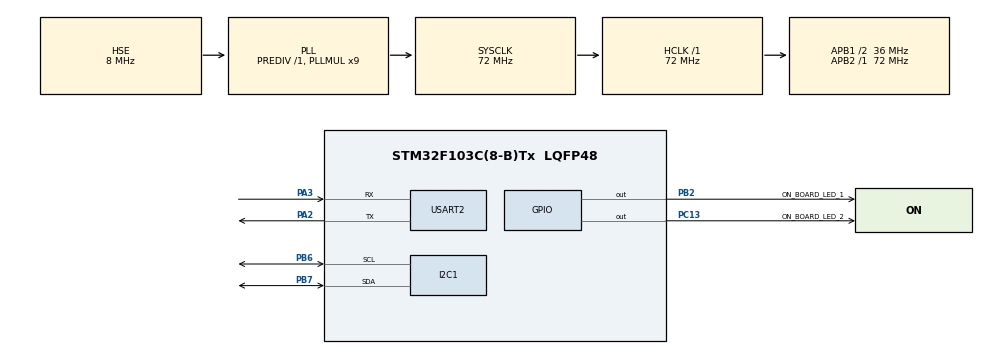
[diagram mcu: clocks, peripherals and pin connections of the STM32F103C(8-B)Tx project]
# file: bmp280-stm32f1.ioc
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FREERTOS.Mutexes01=USART2TxMutex,Dynamic,NULL
FREERTOS.Tasks01=statusTask,24,256,vStatusTask,Default,NULL,Dynamic,NULL,NULL;ledTask,8,128,vLedTask,Default,NULL,Dynamic,NULL,NULL
FREERTOS.configUSE_IDLE_HOOK=1
FREERTOS.configUSE_NEWLIB_REENTRANT=1
I2C1.I2C_Mode=I2C_Fast
I2C1.NoStretchMode=I2C_NOSTRETCH_DISABLE
Mcu.Family=STM32F1
Mcu.Name=STM32F103C(8-B)Tx
Mcu.Package=LQFP48
NVIC.PriorityGroup=NVIC_PRIORITYGROUP_4
NVIC.TIM4_IRQn=true\:15\:0\:false\:false\:true\:false\:false\:true\:true
NVIC.TimeBase=TIM4_IRQn
NVIC.TimeBaseIP=TIM4
PA13.Mode=Serial_Wire
PA13.Signal=SYS_JTMS-SWDIO
PA14.Mode=Serial_Wire
PA14.Signal=SYS_JTCK-SWCLK
PA2.Mode=Asynchronous
PA2.Signal=USART2_TX
PA3.Mode=Asynchronous
PA3.Signal=USART2_RX
PB2.GPIO_Label=ON_BOARD_LED_1
PB2.Signal=GPIO_Output
PB6.Mode=I2C
PB6.Signal=I2C1_SCL
PB7.Mode=I2C
PB7.Signal=I2C1_SDA
PC13-TAMPER-RTC.GPIO_Label=ON_BOARD_LED_2
PC13-TAMPER-RTC.Signal=GPIO_Output
PC14-OSC32_IN.Mode=LSE-External-Oscillator
PC14-OSC32_IN.Signal=RCC_OSC32_IN
PC15-OSC32_OUT.Mode=LSE-External-Oscillator
PC15-OSC32_OUT.Signal=RCC_OSC32_OUT
PD0-OSC_IN.Mode=HSE-External-Oscillator
PD0-OSC_IN.Signal=RCC_OSC_IN
PD1-OSC_OUT.Mode=HSE-External-Oscillator
PD1-OSC_OUT.Signal=RCC_OSC_OUT
ProjectManager.HeapSize=0x200
ProjectManager.StackSize=0x400
ProjectManager.TargetToolchain=STM32CubeIDE
RCC.AHBFreq_Value=72000000
RCC.APB1CLKDivider=RCC_HCLK_DIV2
RCC.APB1Freq_Value=36000000
RCC.APB1TimFreq_Value=72000000
RCC.APB2Freq_Value=72000000
RCC.APB2TimFreq_Value=72000000
RCC.HCLKFreq_Value=72000000
RCC.PLLMUL=RCC_PLL_MUL9
RCC.PLLSourceVirtual=RCC_PLLSOURCE_HSE
RCC.SYSCLKFreq_VALUE=72000000
RCC.SYSCLKSource=RCC_SYSCLKSOURCE_PLLCLK
RCC.USBFreq_Value=72000000
USART2.VirtualMode=VM_ASYNC
VP_FREERTOS_VS_CMSIS_V2.Mode=CMSIS_V2
VP_SYS_VS_tim4.Mode=TIM4
board=custom

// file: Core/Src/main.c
/* USER CODE BEGIN Header */
/**
 ******************************************************************************
 * @file           : main.c
 * @brief          : Main program body
 ******************************************************************************
 * @attention
 *
 * Copyright (c) 2024 STMicroelectronics.
 * All rights reserved.
 *
 * This software is licensed under terms that can be found in the LICENSE file
 * in the root directory of this software component.
 * If no LICENSE file comes with this software, it is provided AS-IS.
 *
 ******************************************************************************
 */
/* USER CODE END Header */
#include "main.h"
#include "cmsis_os.h"
#include "gpio.h"
#include "i2c.h"
#include "usart.h"

/* USER CODE BEGIN Includes */
#include "BMP280.h"
/* USER CODE END Includes */

void SystemClock_Config(void);
void MX_FREERTOS_Init(void);

int main(void) {

  /* MCU Configuration--------------------------------------------------------*/

  /* Reset of all peripherals, Initializes the Flash interface and the Systick.
   */
  HAL_Init();

  /* Configure the system clock */
  SystemClock_Config();

  /* Initialize all configured peripherals */
  MX_GPIO_Init();
  MX_I2C1_Init();
  MX_USART2_UART_Init();

  /* Init scheduler */
  osKernelInitialize();

  /* Call init function for freertos objects (in cmsis_os2.c) */
  MX_FREERTOS_Init();

  /* Start scheduler */
  osKernelStart();

  /* We should never get here as control is now taken by the scheduler */

  /* Infinite loop */
  /* USER CODE BEGIN WHILE */
  while (true) {
    /* USER CODE END WHILE */

  }
}

void SystemClock_Config(void) {
  RCC_OscInitTypeDef RCC_OscInitStruct = {0};
  RCC_ClkInitTypeDef RCC_ClkInitStruct = {0};

  /** Initializes the RCC Oscillators according to the specified parameters
   * in the RCC_OscInitTypeDef structure.
   */
  RCC_OscInitStruct.OscillatorType = RCC_OSCILLATORTYPE_HSE;
  RCC_OscInitStruct.HSEState = RCC_HSE_ON;
  RCC_OscInitStruct.HSEPredivValue = RCC_HSE_PREDIV_DIV1;
  RCC_OscInitStruct.HSIState = RCC_HSI_ON;
  RCC_OscInitStruct.PLL.PLLState = RCC_PLL_ON;
  RCC_OscInitStruct.PLL.PLLSource = RCC_PLLSOURCE_HSE;
  RCC_OscInitStruct.PLL.PLLMUL = RCC_PLL_MUL9;
  if (HAL_RCC_OscConfig(&RCC_OscInitStruct) != HAL_OK) {
    Error_Handler();
  }

  /** Initializes the CPU, AHB and APB buses clocks
   */
  RCC_ClkInitStruct.ClockType = RCC_CLOCKTYPE_HCLK | RCC_CLOCKTYPE_SYSCLK |
                                RCC_CLOCKTYPE_PCLK1 | RCC_CLOCKTYPE_PCLK2;
  RCC_ClkInitStruct.SYSCLKSource = RCC_SYSCLKSOURCE_PLLCLK;
  RCC_ClkInitStruct.AHBCLKDivider = RCC_SYSCLK_DIV1;
  RCC_ClkInitStruct.APB1CLKDivider = RCC_HCLK_DIV2;
  RCC_ClkInitStruct.APB2CLKDivider = RCC_HCLK_DIV1;

  if (HAL_RCC_ClockConfig(&RCC_ClkInitStruct, FLASH_LATENCY_2) != HAL_OK) {
    Error_Handler();
  }
}

/* USER CODE BEGIN 4 */

/**
 * @brief putchar() override - redirect printf to USART2
 */
int __io_putchar(int ch) {
  while (!(USART2->SR & 0x0080)) { // wait until TX data register empty
    asm("nop");
  }
  USART2->DR = (ch & 0xFF); // write data to TX register
  // HAL_UART_Transmit(&huart2, (uint8_t *)&ch, 1, HAL_MAX_DELAY);
  return ch;
}

/* USER CODE END 4 */

void HAL_TIM_PeriodElapsedCallback(TIM_HandleTypeDef *htim) {
  if (htim->Instance == TIM4) {
    HAL_IncTick();
  }
}

void Error_Handler(void) {
  __disable_irq();
  while (1) {
  }
}

#ifdef USE_FULL_ASSERT
/**
 * @brief  Reports the name of the source file and the source line number
 *         where the assert_param error has occurred.
 * @param  file: pointer to the source file name
 * @param  line: assert_param error line source number
 * @retval None
 */
void assert_failed(uint8_t *file, uint32_t line) {
  /* USER CODE BEGIN 6 */
  /* User can add his own implementation to report the file name and line
     number, ex: printf("Wrong parameters value: file %s on line %d\r\n", file,
     line) */
  /* USER CODE END 6 */
}
#endif /* USE_FULL_ASSERT */

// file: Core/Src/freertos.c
/* USER CODE BEGIN Header */
/**
 ******************************************************************************
 * File Name          : freertos.c
 * Description        : Code for freertos applications
 ******************************************************************************
 * @attention
 *
 * Copyright (c) 2024 STMicroelectronics.
 * All rights reserved.
 *
 * This software is licensed under terms that can be found in the LICENSE file
 * in the root directory of this software component.
 * If no LICENSE file comes with this software, it is provided AS-IS.
 *
 * @file freertos.c
 * @brief FreeRTOS setup and task function bodies.
 ******************************************************************************
 */
/* USER CODE END Header */

#include "FreeRTOS.h"
#include "cmsis_os.h"
#include "main.h"
#include "task.h"

/* USER CODE BEGIN Includes */
#include "BMP280.h"
#include "i2c.h"
/* USER CODE END Includes */

/* USER CODE BEGIN Variables */
osThreadId_t vStatusTaskHandle;
struct BMP280_Result bmp280_result;
/* USER CODE END Variables */
/* Definitions for statusTask */
osThreadId_t statusTaskHandle;
const osThreadAttr_t statusTask_attributes = {
    .name = "statusTask",
    .stack_size = 256 * 4,
    .priority = (osPriority_t)osPriorityNormal,
};
/* Definitions for ledTask */
osThreadId_t ledTaskHandle;
const osThreadAttr_t ledTask_attributes = {
    .name = "ledTask",
    .stack_size = 128 * 4,
    .priority = (osPriority_t)osPriorityLow,
};
/* Definitions for USART2TxMutex */
osMutexId_t USART2TxMutexHandle;
const osMutexAttr_t USART2TxMutex_attributes = {.name = "USART2TxMutex"};

void vStatusTask(void *argument);
void vLedTask(void *argument);

void MX_FREERTOS_Init(void); /* (MISRA C 2004 rule 8.1) */

/* Hook prototypes */
void vApplicationIdleHook(void);

/* USER CODE BEGIN 2 */
void vApplicationIdleHook(void) {
  /* vApplicationIdleHook() will only be called if configUSE_IDLE_HOOK is set
  to 1 in FreeRTOSConfig.h. It will be called on each iteration of the idle
  task. It is essential that code added to this hook function never attempts
  to block in any way (for example, call xQueueReceive() with a block time
  specified, or call vTaskDelay()). If the application makes use of the
  vTaskDelete() API function (as this demo application does) then it is also
  important that vApplicationIdleHook() is permitted to return to its calling
  function, because it is the responsibility of the idle task to clean up
  memory allocated by the kernel to any task that has since been deleted. */
  //  HAL_GPIO_TogglePin(ON_BOARD_LED_1_GPIO_Port, ON_BOARD_LED_1_Pin);
  //  HAL_GPIO_TogglePin(ON_BOARD_LED_2_GPIO_Port, ON_BOARD_LED_2_Pin);
  // printf("idle task\r\n");
  //  vTaskDelay(pdMS_TO_TICKS(1000));
}
/* USER CODE END 2 */

void MX_FREERTOS_Init(void) {
  /* Create the mutex(es) */
  /* creation of USART2TxMutex */
  USART2TxMutexHandle = osMutexNew(&USART2TxMutex_attributes);

  /* Create the thread(s) */
  /* creation of statusTask */
  statusTaskHandle = osThreadNew(vStatusTask, NULL, &statusTask_attributes);

  /* creation of ledTask */
  ledTaskHandle = osThreadNew(vLedTask, NULL, &ledTask_attributes);

}

/* USER CODE BEGIN Header_vStatusTask */
/**
 * @brief  Task that initializes and then periodically reads measurement
 * values from BMP280 sensor.
 */
/* USER CODE END Header_vStatusTask */
void vStatusTask(void *argument) {
  /* USER CODE BEGIN vStatusTask */
  /* Infinite loop */
  printf("System initializing\r\n");

  BMP280_Init_I2C(BMP280_VAL_CTRL_MEAS_OSRS_T_16,
                  BMP280_VAL_CTRL_MEAS_OSRS_P_16,
                  BMP280_VAL_CTRL_MEAS_MODE_NORMAL,
                  BMP280_VAL_CTRL_CONFIG_T_SB_0_5,
                  BMP280_VAL_CTRL_CONFIG_FILTER_0,
                  hi2c1,
                  BMP280_DEVICE_ADDRESS_GND);

  while (true) {
    bmp280_result = BMP280_Measure_I2C(hi2c1, BMP280_DEVICE_ADDRESS_GND);

    if (osMutexAcquire(USART2TxMutexHandle, osWaitForever) == osOK) {
      // printf("Pressure\tTemperature\r\n");
      printf("%0.2f hPa\r\n%0.2f deg C\r\n",
             bmp280_result.Pressure / 100,
             bmp280_result.Temperature);
      osMutexRelease(USART2TxMutexHandle);
    }
    osDelay(50);
  }
  /* USER CODE END vStatusTask */
}

/* USER CODE BEGIN Header_vLedTask */
/**
 * @brief Task that blinks LED to signal that the system is not frozen.
 */
/* USER CODE END Header_vLedTask */
void vLedTask(void *argument) {
  /* USER CODE BEGIN vLedTask */
  /* Infinite loop */
  uint8_t rhythm = 0;
  while (true) {
    if (rhythm < 3) {
      GPIOB->ODR ^= (1U << 2) | (1U << 13);
      ++rhythm;
      osDelay(100);
    } else if (rhythm < 6) {
      GPIOB->ODR ^= (1U << 2) | (1U << 13);
      ++rhythm;
      osDelay(500);
    } else {
      rhythm = 0;
    }
  }
  /* USER CODE END vLedTask */
}
